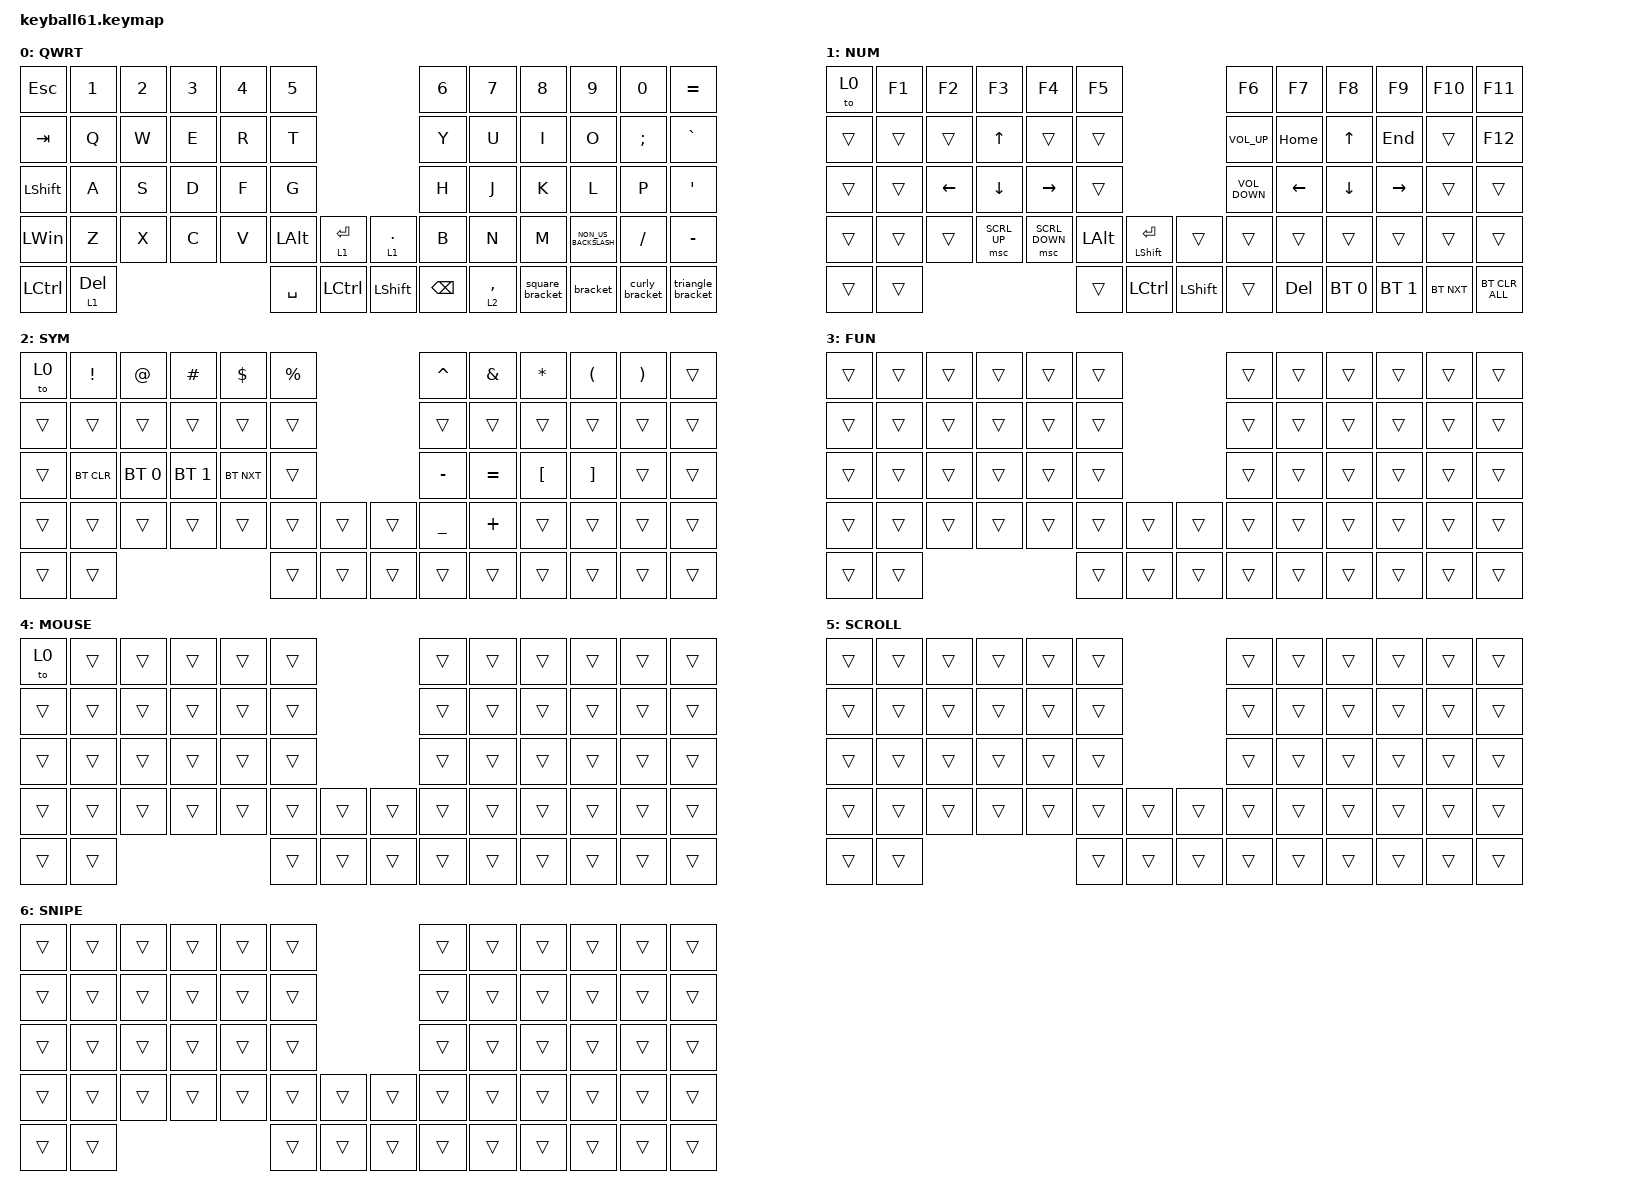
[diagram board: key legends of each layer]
#define DEFAULT 0
#define SYM     1
#define FUN     2
#define MOUSE   3
#define SCROLL  4
#define SNIPE   5

#include <behaviors/mouse_keys.dtsi>
#include <dt-bindings/zmk/mouse.h>
#include <behaviors.dtsi>
#include <dt-bindings/zmk/bt.h>
#include <dt-bindings/zmk/keys.h>
#include <dt-bindings/zmk/pointing.h>

&nice_view_spi { cs-gpios = <&pro_micro 1 GPIO_ACTIVE_HIGH>; };

&lt {
    tapping-term-ms = <240>;
    flavor = "balanced";
    quick-tap-ms = <150>;
};

&mt {
    tapping-term-ms = <200>;
    flavor = "tap-preferred";
    quick-tap-ms = <150>;
};

/ {
    combos {
        compatible = "zmk,combos";

        scroll_down {
            bindings = <&msc SCRL_DOWN>;
            key-positions = <28 27>;
        };

        Bootloader {
            bindings = <&bootloader>;
            key-positions = <0 1>;
            layers = <1>;
        };

        Shift {
            bindings = <&kp LEFT_SHIFT>;
            key-positions = <53 52>;
        };

        scroll_up {
            bindings = <&msc SCRL_UP>;
            key-positions = <26 27>;
        };

        Del {
            bindings = <&kp DELETE>;
            key-positions = <54 55>;
        };

        left_click {
            bindings = <&mkp LCLK>;
            key-positions = <40 39>;
        };

        middle_click {
            bindings = <&mkp MCLK>;
            key-positions = <39 38>;
        };

        right_click {
            bindings = <&mkp RCLK>;
            key-positions = <38 37>;
        };
    };

    macros {
        square_bracket: new_macro {
            compatible = "zmk,behavior-macro";
            #binding-cells = <0>;
            bindings = <&kp LBKT &kp RBKT &kp LEFT_ARROW>;
            label = "NEW_MACRO";
        };

        bracket: m2 {
            compatible = "zmk,behavior-macro";
            #binding-cells = <0>;
            bindings = <&kp LPAR &kp RPAR &kp LEFT>;
            label = "M2";
        };

        curly_bracket: curly_bracket {
            compatible = "zmk,behavior-macro";
            #binding-cells = <0>;
            bindings = <&kp LBRC &kp RBRC &kp LEFT_ARROW>;
            label = "CURLY_BRACKET";
        };

        triangle_bracket: triangle_bracket {
            compatible = "zmk,behavior-macro";
            #binding-cells = <0>;
            bindings = <&kp LT &kp GT &kp LEFT_ARROW>;
            label = "TRIANGLE_BRACKET";
        };
    };

    behaviors {
        holdtap: holdtap {
            compatible = "zmk,behavior-hold-tap";
            label = "HOLDTAP";
            bindings = <&mt>, <&kp>;

            #binding-cells = <2>;
            tapping-term-ms = <240>;
            hold-trigger-key-positions = <53 55>;
        };
    };

    keymap {
        compatible = "zmk,keymap";

        default_layer {
            label = "QWRT";
            bindings = <
&kp ESC         &kp N1        &kp N2  &kp N3  &kp N4  &kp N5                                     &kp N6         &kp N7       &kp N8           &kp N9                &kp N0          &kp EQUAL
&kp TAB         &kp Q         &kp W   &kp E   &kp R   &kp T                                      &kp Y          &kp U        &kp I            &kp O                 &kp SEMICOLON   &kp GRAVE
&kp LEFT_SHIFT  &kp A         &kp S   &kp D   &kp F   &kp G                                      &kp H          &kp J        &kp K            &kp L                 &kp P           &kp SQT
&kp LEFT_WIN    &kp Z         &kp X   &kp C   &kp V   &kp LEFT_ALT  &lt 1 ENTER  &lt 1 PERIOD    &kp B          &kp N        &kp M            &kp NON_US_BACKSLASH  &kp FSLH        &kp MINUS
&kp LCTRL       &lt 1 DELETE                          &kp SPACE     &kp LCTRL    &kp LEFT_SHIFT  &kp BACKSPACE  &lt 2 COMMA  &square_bracket  &bracket              &curly_bracket  &triangle_bracket
            >;
        };

        number_layer {
            bindings = <
&to 0   &kp F1  &kp F2    &kp F3        &kp F4          &kp F5                                              &kp F6             &kp F7          &kp F8        &kp F9        &kp F10     &kp F11
&trans  &trans  &trans    &kp UP_ARROW  &trans          &trans                                              &kp C_VOLUME_UP    &kp HOME        &kp UP_ARROW  &kp END       &trans      &kp F12
&trans  &trans  &kp LEFT  &kp DOWN      &kp RIGHT       &trans                                              &kp C_VOLUME_DOWN  &kp LEFT_ARROW  &kp DOWN      &kp RIGHT     &trans      &trans
&trans  &trans  &trans    &msc SCRL_UP  &msc SCRL_DOWN  &kp LEFT_ALT  &mt LEFT_SHIFT ENTER  &trans          &trans             &trans          &trans        &trans        &trans      &trans
&trans  &trans                                          &trans        &kp LCTRL             &kp LEFT_SHIFT  &trans             &kp DELETE      &bt BT_SEL 0  &bt BT_SEL 1  &bt BT_NXT  &bt BT_CLR_ALL
            >;

            label = "NUM";
        };

        symbol_layer {
            label = "SYM";
            bindings = <
&to 0   &kp EXCLAMATION  &kp AT_SIGN   &kp HASH      &kp DOLLAR  &kp PERCENT                  &kp CARET       &kp AMPERSAND  &kp ASTERISK      &kp LEFT_PARENTHESIS  &kp RIGHT_PARENTHESIS  &trans
&trans  &trans           &trans        &trans        &trans      &trans                       &trans          &trans         &trans            &trans                &trans                 &trans
&trans  &bt BT_CLR       &bt BT_SEL 0  &bt BT_SEL 1  &bt BT_NXT  &trans                       &kp MINUS       &kp EQUAL      &kp LEFT_BRACKET  &kp RIGHT_BRACKET     &trans                 &trans
&trans  &trans           &trans        &trans        &trans      &trans       &trans  &trans  &kp UNDERSCORE  &kp PLUS       &trans            &trans                &trans                 &trans
&trans  &trans                                                   &trans       &trans  &trans  &trans          &trans         &trans            &trans                &trans                 &trans
            >;
        };

        function_layer {
            label = "FUN";
            bindings = <
&trans  &trans  &trans  &trans  &trans  &trans                  &trans  &trans  &trans  &trans  &trans  &trans
&trans  &trans  &trans  &trans  &trans  &trans                  &trans  &trans  &trans  &trans  &trans  &trans
&trans  &trans  &trans  &trans  &trans  &trans                  &trans  &trans  &trans  &trans  &trans  &trans
&trans  &trans  &trans  &trans  &trans  &trans  &trans  &trans  &trans  &trans  &trans  &trans  &trans  &trans
&trans  &trans                          &trans  &trans  &trans  &trans  &trans  &trans  &trans  &trans  &trans
            >;
        };

        mouse_layer {
            label = "MOUSE";
            bindings = <
&to 0   &trans  &trans  &trans  &trans  &trans                  &trans  &trans  &trans  &trans  &trans  &trans
&trans  &trans  &trans  &trans  &trans  &trans                  &trans  &trans  &trans  &trans  &trans  &trans
&trans  &trans  &trans  &trans  &trans  &trans                  &trans  &trans  &trans  &trans  &trans  &trans
&trans  &trans  &trans  &trans  &trans  &trans  &trans  &trans  &trans  &trans  &trans  &trans  &trans  &trans
&trans  &trans                          &trans  &trans  &trans  &trans  &trans  &trans  &trans  &trans  &trans
            >;
        };

        scroll_layer {
            label = "SCROLL";
            bindings = <
&trans  &trans  &trans  &trans  &trans  &trans                  &trans  &trans  &trans  &trans  &trans  &trans
&trans  &trans  &trans  &trans  &trans  &trans                  &trans  &trans  &trans  &trans  &trans  &trans
&trans  &trans  &trans  &trans  &trans  &trans                  &trans  &trans  &trans  &trans  &trans  &trans
&trans  &trans  &trans  &trans  &trans  &trans  &trans  &trans  &trans  &trans  &trans  &trans  &trans  &trans
&trans  &trans                          &trans  &trans  &trans  &trans  &trans  &trans  &trans  &trans  &trans
            >;
        };

        snipe_layer {
            label = "SNIPE";
            bindings = <
&trans  &trans  &trans  &trans  &trans  &trans                  &trans  &trans  &trans  &trans  &trans  &trans
&trans  &trans  &trans  &trans  &trans  &trans                  &trans  &trans  &trans  &trans  &trans  &trans
&trans  &trans  &trans  &trans  &trans  &trans                  &trans  &trans  &trans  &trans  &trans  &trans
&trans  &trans  &trans  &trans  &trans  &trans  &trans  &trans  &trans  &trans  &trans  &trans  &trans  &trans
&trans  &trans                          &trans  &trans  &trans  &trans  &trans  &trans  &trans  &trans  &trans
            >;
        };
    };
};
